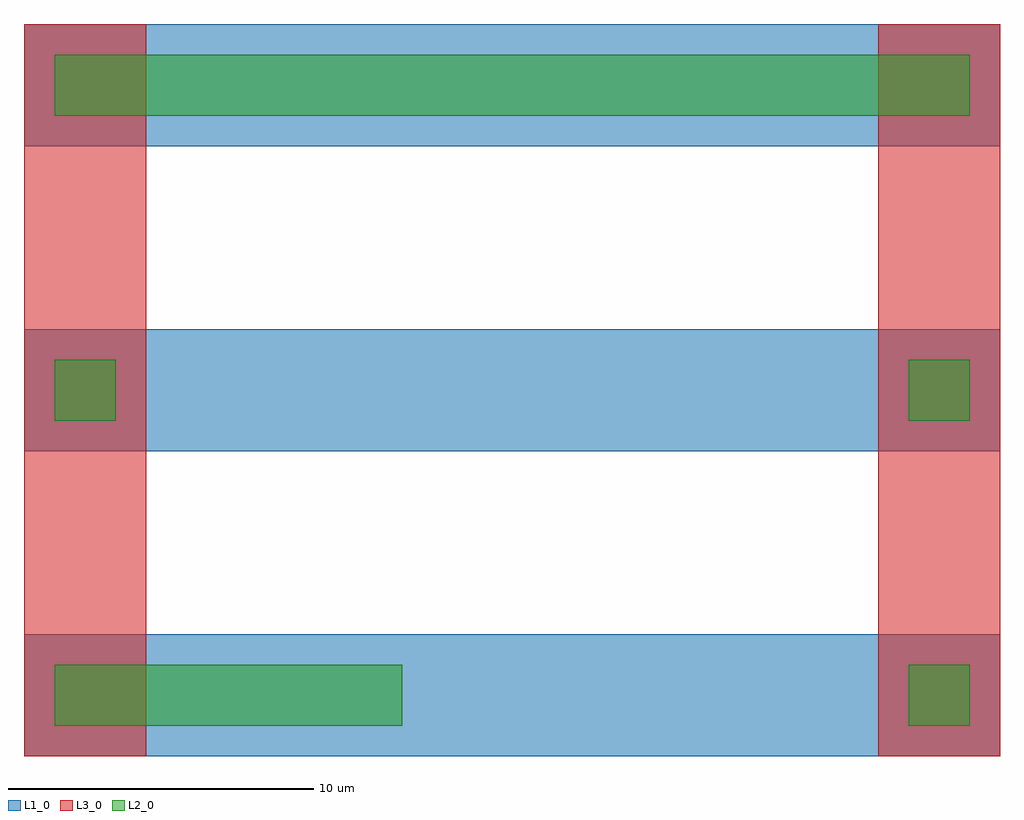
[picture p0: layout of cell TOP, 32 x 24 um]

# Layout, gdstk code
from math import pi, radians
import gdstk
lib = gdstk.Library(unit=1e-6, precision=1e-09)
def R(c, l, rs):  # rectangles x0, y0, x1, y1
    for r in rs: c.add(gdstk.rectangle(r[:2], r[2:], *l))
L1_0 = (1, 0)
L2_0 = (2, 0)
L3_0 = (3, 0)
L100_0 = (100, 0)
L101_0 = (101, 0)
L102_0 = (102, 0)

c_a = lib.new_cell('A')
R(c_a, L1_0, [(-2,-11,2,5)])
R(c_a, L2_0, [(-1,2,1,4)])
c_a.add(gdstk.FlexPath([(-2,5),(2,5)], 0, ends="flush", simple_path=True, layer=100, datatype=0))  # L100_0
c_a.add(gdstk.FlexPath([(-1,4),(1,4)], 0, ends="flush", simple_path=True, layer=101, datatype=0))  # L101_0

c_b = lib.new_cell('B')
R(c_b, L3_0, [(-12,-2,12,2)])
c_b.add(gdstk.FlexPath([(1,1),(1,-1)], 0, ends="flush", simple_path=True, layer=101, datatype=0))  # L101_0
c_b.add(gdstk.FlexPath([(-1,-1),(-1,1)], 0, ends="flush", simple_path=True, layer=101, datatype=0))  # L101_0
c_b.add(gdstk.FlexPath([(-1,1),(1,1)], 0, ends="flush", simple_path=True, layer=101, datatype=0))  # L101_0
c_b.add(gdstk.FlexPath([(-12,-2),(-12,2)], 0, ends="flush", simple_path=True, layer=102, datatype=0))  # L102_0
c_b.add(gdstk.FlexPath([(-12,2),(12,2)], 0, ends="flush", simple_path=True, layer=102, datatype=0))  # L102_0
c_b.add(gdstk.FlexPath([(12,2),(12,-2)], 0, ends="flush", simple_path=True, layer=102, datatype=0))  # L102_0
c_b.add(gdstk.FlexPath([(12,-2),(-12,-2)], 0, ends="flush", simple_path=True, layer=102, datatype=0))  # L102_0
r = gdstk.Reference(c_a, (0,3), rotation=pi); r.repetition = gdstk.Repetition(1, 1, v1=(0,0), v2=(0,0)); c_b.add(r)
r = gdstk.Reference(c_a, (10,3), rotation=pi); r.repetition = gdstk.Repetition(1, 1, v1=(0,0), v2=(0,0)); c_b.add(r)
r = gdstk.Reference(c_a, (-10,3), rotation=pi); r.repetition = gdstk.Repetition(1, 1, v1=(0,0), v2=(0,0)); c_b.add(r)

top = lib.new_cell('TOP')
R(top, L2_0, [(3,1,12.4,3), (3,21,29,23)])
top.add(gdstk.FlexPath([(0,14),(32,14)], 0, ends="flush", simple_path=True, layer=100, datatype=0))  # L100_0
top.add(gdstk.FlexPath([(32,10),(0,10)], 0, ends="flush", simple_path=True, layer=100, datatype=0))  # L100_0
top.add(gdstk.FlexPath([(0,4),(32,4)], 0, ends="flush", simple_path=True, layer=100, datatype=0))  # L100_0
top.add(gdstk.FlexPath([(32,20),(0,20)], 0, ends="flush", simple_path=True, layer=100, datatype=0))  # L100_0
top.add(gdstk.FlexPath([(0,24),(32,24)], 0, ends="flush", simple_path=True, layer=100, datatype=0))  # L100_0
top.add(gdstk.FlexPath([(32,0),(0,0)], 0, ends="flush", simple_path=True, layer=100, datatype=0))  # L100_0
top.add(gdstk.FlexPath([(1,23),(31,23)], 0, ends="flush", simple_path=True, layer=101, datatype=0))  # L101_0
top.add(gdstk.FlexPath([(31,21),(1,21)], 0, ends="flush", simple_path=True, layer=101, datatype=0))  # L101_0
top.add(gdstk.FlexPath([(1,3),(12.4,3)], 0, ends="flush", simple_path=True, layer=101, datatype=0))  # L101_0
top.add(gdstk.FlexPath([(12.4,3),(12.4,1)], 0, ends="flush", simple_path=True, layer=101, datatype=0))  # L101_0
top.add(gdstk.FlexPath([(12.4,1),(1,1)], 0, ends="flush", simple_path=True, layer=101, datatype=0))  # L101_0
top.add(gdstk.FlexPath([(29,3),(31,3)], 0, ends="flush", simple_path=True, layer=101, datatype=0))  # L101_0
top.add(gdstk.FlexPath([(31,1),(29,1)], 0, ends="flush", simple_path=True, layer=101, datatype=0))  # L101_0
top.add(gdstk.FlexPath([(29,1),(29,3)], 0, ends="flush", simple_path=True, layer=101, datatype=0))  # L101_0
r = gdstk.Reference(c_b, (30,12), rotation=pi/2); r.repetition = gdstk.Repetition(1, 1, v1=(0,0), v2=(0,0)); top.add(r)
r = gdstk.Reference(c_b, (2,12), rotation=3*pi/2); r.repetition = gdstk.Repetition(1, 1, v1=(0,0), v2=(0,0)); top.add(r)

lib.write_gds('TOP.gds')
